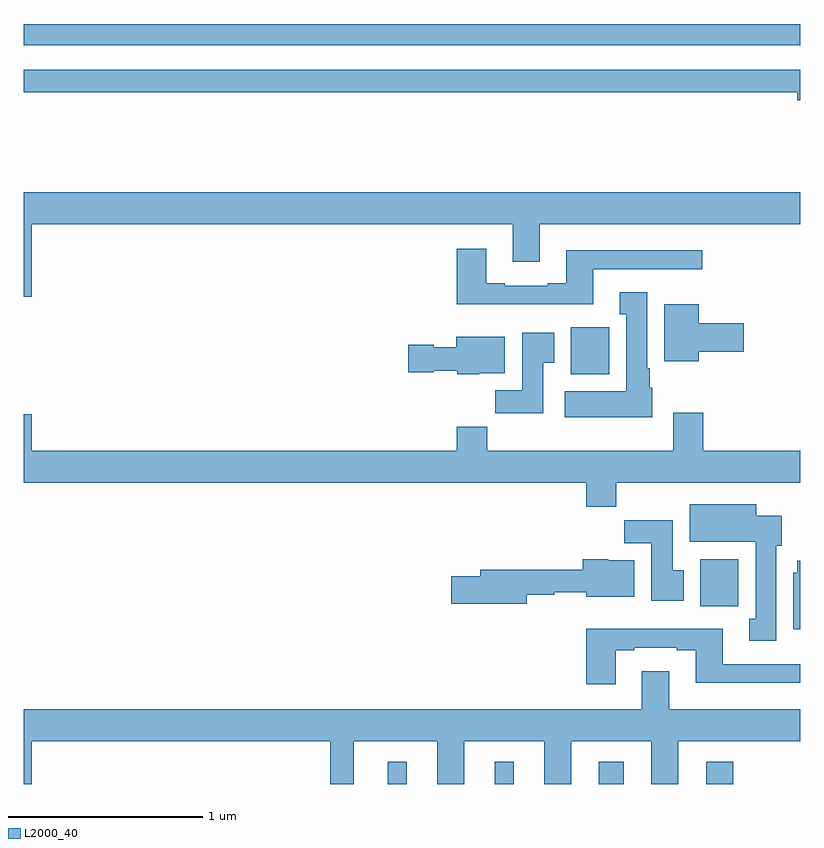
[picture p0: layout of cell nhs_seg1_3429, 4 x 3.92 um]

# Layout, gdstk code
import gdstk
lib = gdstk.Library(unit=1e-6, precision=1e-09)
def R(c, l, rs):  # rectangles x0, y0, x1, y1
    for r in rs: c.add(gdstk.rectangle(r[:2], r[2:], *l))
def P(c, l, *ps):  # polygons
    for p in ps: c.add(gdstk.Polygon(p, *l))
L2000_40 = (2000, 40)

nhs_seg1_3429 = lib.new_cell('nhs_seg1_3429')
R(nhs_seg1_3429, L2000_40, [(298.874,530.199,298.972,530.314), (299.426,530.199,299.524,530.314), (299.963,530.199,300.091,530.314), (300.515,530.199,300.656,530.314), (300.485,531.116,300.682,531.358), (299.819,532.31,300.016,532.552), (297,534.006,301,534.115)])
P(nhs_seg1_3429, L2000_40, [(301,533.88),(297,533.88),(297,533.764),(300.986,533.764),(300.986,533.722),(301,533.722)],
  [(297.04,533.084),(299.519,533.084),(299.519,532.89),(299.659,532.89),(299.659,533.084),(301,533.084),(301,533.248),(297,533.248),(297,532.71),(297.04,532.71)],
  [(299.935,532.851),(300.496,532.851),(300.496,532.948),(299.795,532.948),(299.795,532.78),(299.699,532.78),(299.699,532.767),(299.479,532.767),(299.479,532.78),(299.383,532.78),(299.383,532.957),(299.231,532.957),(299.231,532.67),(299.935,532.67)],
  [(300.238,532.242),(300.226,532.242),(300.226,532.342),(300.211,532.342),(300.211,532.732),(300.071,532.732),(300.071,532.619),(300.104,532.619),(300.104,532.222),(299.787,532.222),(299.787,532.088),(300.238,532.088)],
  [(300.478,532.427),(300.709,532.427),(300.709,532.574),(300.478,532.574),(300.478,532.672),(300.299,532.672),(300.299,532.376),(300.478,532.376)],
  [(299.677,532.369),(299.734,532.369),(299.734,532.525),(299.567,532.525),(299.567,532.228),(299.428,532.228),(299.428,532.11),(299.677,532.11)],
  [(299.346,532.316),(299.479,532.316),(299.479,532.504),(299.228,532.504),(299.228,532.45),(299.112,532.45),(299.112,532.463),(298.98,532.463),(298.98,532.321),(299.112,532.321),(299.112,532.328),(299.232,532.328),(299.232,532.31),(299.346,532.31)],
  [(300.053,531.752),(301,531.752),(301,531.916),(300.5,531.916),(300.5,532.111),(300.347,532.111),(300.347,531.916),(299.387,531.916),(299.387,532.04),(299.231,532.04),(299.231,531.916),(297.04,531.916),(297.04,532.105),(297,532.105),(297,531.752),(299.897,531.752),(299.897,531.628),(300.053,531.628)],
  [(300.877,531.426),(300.904,531.426),(300.904,531.58),(300.775,531.58),(300.775,531.64),(300.431,531.64),(300.431,531.446),(300.77,531.446),(300.77,531.05),(300.737,531.05),(300.737,530.937),(300.877,530.937)],
  [(300.4,531.3),(300.343,531.3),(300.343,531.558),(300.094,531.558),(300.094,531.44),(300.233,531.44),(300.233,531.144),(300.4,531.144)],
  [(299.59,531.175),(299.733,531.175),(299.733,531.186),(299.898,531.186),(299.898,531.164),(300.145,531.164),(300.145,531.352),(300.012,531.352),(300.012,531.358),(299.88,531.358),(299.88,531.304),(299.351,531.304),(299.351,531.27),(299.202,531.27),(299.202,531.128),(299.59,531.128)],
  [(301,531.349),(300.986,531.349),(300.986,531.288),(300.965,531.288),(300.965,530.996),(301,530.996)],
  [(300.049,530.889),(300.145,530.889),(300.145,530.901),(300.365,530.901),(300.365,530.889),(300.461,530.889),(300.461,530.72),(301,530.72),(301,530.817),(300.601,530.817),(300.601,530.998),(299.897,530.998),(299.897,530.712),(300.049,530.712)],
  [(297.04,530.42),(298.578,530.42),(298.578,530.199),(298.699,530.199),(298.699,530.42),(299.129,530.42),(299.129,530.199),(299.269,530.199),(299.269,530.42),(299.681,530.42),(299.681,530.199),(299.821,530.199),(299.821,530.42),(300.233,530.42),(300.233,530.199),(300.373,530.199),(300.373,530.42),(301,530.42),(301,530.584),(300.325,530.584),(300.325,530.779),(300.185,530.779),(300.185,530.584),(297,530.584),(297,530.199),(297.04,530.199)])

lib.write_gds('nhs_seg1_3429.gds')
